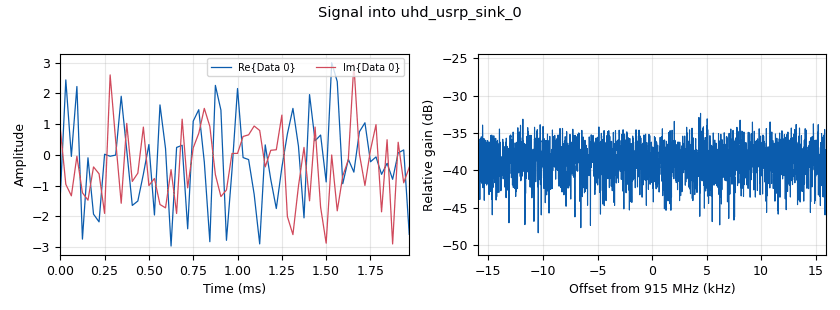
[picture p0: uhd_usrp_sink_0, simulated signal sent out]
options:
  parameters:
    author: žan
    generate_options: qt_gui
    id: igranje_z_kodo
    output_language: python
    title: Not titled yet
  states: {}

blocks:
- name: samp_rate
  id: variable
  parameters:
    value: '32000'
  states: {}
- name: epy_block_0
  id: epy_block
  parameters:
    _source_code: "\"\"\"\nEmbedded Python Blocks:\n\nEach time this file is saved, GRC will instantiate the first class it finds\nto get ports and parameters of your block. The arguments to __init__  will\nbe the parameters. All of them are required to have default values!\n\"\"\"\n\nimport numpy as np\nfrom gnuradio import gr\n\n\nclass blk(gr.sync_block):  # other base classes are basic_block, decim_block, interp_block\n    \"\"\"Embedded Python Block example - a simple multiply const\"\"\"\n\n    def __init__(self, example_param=1.0):  # only default arguments here\n        \"\"\"arguments to this function show up as parameters in GRC\"\"\"\n        gr.sync_block.__init__(\n            self,\n            name='Alpha stable noise source',   # will show up in GRC\n            in_sig=None, #za enkrat dejmo sam random signal pole naj bo input in bomo provali prave podatke poslat\n            out_sig=[np.complex64]\n        )\n        \n        self.alpha = float(1.6)\n        self.scale = float(1.0)\n        self.clip = float(3.0)\n\n        self.rng = np.random.default_rng(1234)\n\n    def alpha_stable(self, size):\n        alpha = self.alpha\n\n        v = self.rng.uniform(-np.pi/2, np.pi/2, size)\n        w = self.rng.exponential(1, size)\n\n        part1 = np.sin(alpha*v)/(np.cos(v))**(1/alpha)\n        part2 = (np.cos((1-alpha)*v) / w)**((1-alpha)/alpha)\n        return part1 * part2\n\n\n    def work(self, input_items, output_items):\n        N = len(output_items[0])\n\n        noise_i = self.alpha_stable(N)\n        noise_q = self.alpha_stable(N)\n\n        complex_noise = noise_i + 1j * noise_q\n\n        complex_noise *= self.scale\n\n        # Clip to prevent USRP saturation\n        if self.clip > 0:\n            mag = np.abs(complex_noise)\n            mask = mag > self.clip\n            complex_noise[mask] = self.clip * complex_noise[mask] / mag[mask]\n\n        output_items[0][:] = complex_noise.astype(np.complex64)\n\n        return N\n\n"
    example_param: '1.0'
  states: {}
- name: uhd_usrp_sink_0
  id: uhd_usrp_sink
  parameters:
    ant0: '"TX/RX"'
    bw0: '250000'
    center_freq0: 915e6
    dev_addr: '"serial=30F4146"'
    gain0: '100'
    samp_rate: samp_rate
    sync: sync
    type: fc32
  states: {}

connections:
- [epy_block_0, '0', uhd_usrp_sink_0, '0']

metadata:
  file_format: 1
  grc_version: 3.10.12.0
